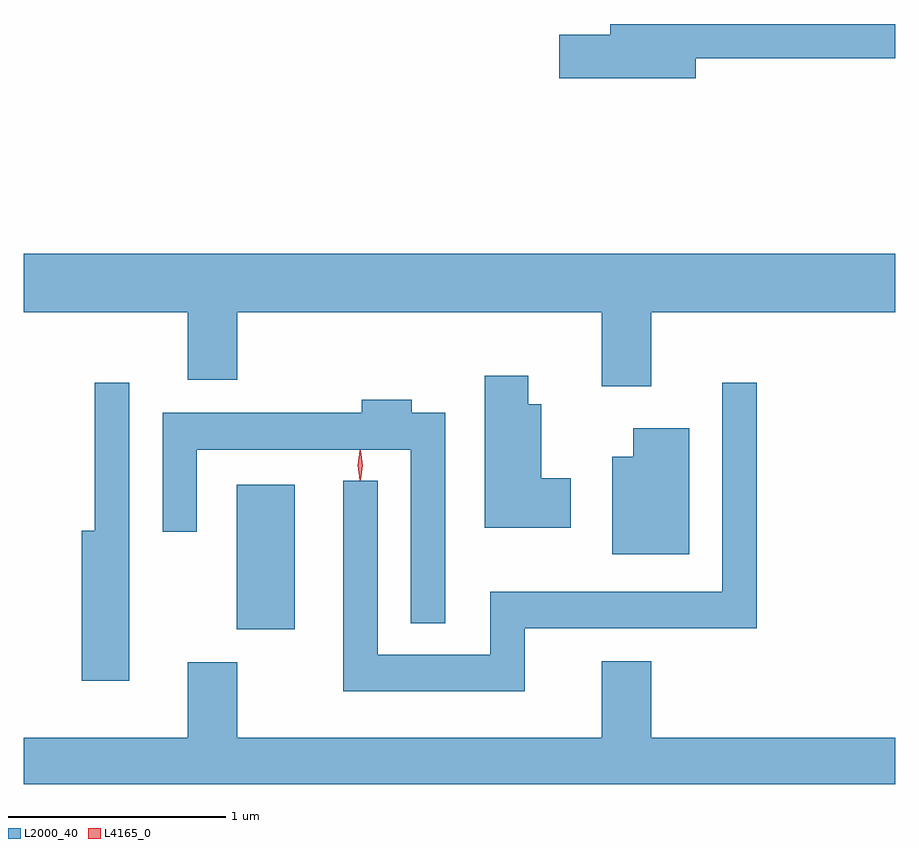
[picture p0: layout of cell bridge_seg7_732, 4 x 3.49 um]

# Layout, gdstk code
import gdstk
lib = gdstk.Library(unit=1e-6, precision=1e-09)
def R(c, l, rs):  # rectangles x0, y0, x1, y1
    for r in rs: c.add(gdstk.rectangle(r[:2], r[2:], *l))
def P(c, l, *ps):  # polygons
    for p in ps: c.add(gdstk.Polygon(p, *l))
L2000_40 = (2000, 40)
L4165_0 = (4165, 0)

bridge_seg7_732 = lib.new_cell('bridge_seg7_732')
R(bridge_seg7_732, L2000_40, [(591.556,1737.281,591.824,1737.944)])
P(bridge_seg7_732, L2000_40, [(593.664,1739.901),(594.579,1739.901),(594.579,1740.059),(593.271,1740.059),(593.271,1740.009),(593.036,1740.009),(593.036,1739.811),(593.664,1739.811)],
  [(593.459,1738.736),(594.579,1738.736),(594.579,1739.004),(590.579,1739.004),(590.579,1738.736),(591.331,1738.736),(591.331,1738.426),(591.559,1738.426),(591.559,1738.736),(593.231,1738.736),(593.231,1738.396),(593.459,1738.396)],
  [(593.089,1737.974),(592.954,1737.974),(592.954,1738.314),(592.894,1738.314),(592.894,1738.444),(592.696,1738.444),(592.696,1737.746),(593.089,1737.746)],
  [(591.064,1738.413),(590.906,1738.413),(590.906,1737.734),(590.846,1737.734),(590.846,1737.046),(591.064,1737.046)],
  [(592.879,1737.286),(593.944,1737.286),(593.944,1738.413),(593.786,1738.413),(593.786,1737.454),(592.721,1737.454),(592.721,1737.164),(592.204,1737.164),(592.204,1737.963),(592.046,1737.963),(592.046,1736.996),(592.879,1736.996)],
  [(592.514,1738.274),(592.359,1738.274),(592.359,1738.334),(592.131,1738.334),(592.131,1738.274),(591.216,1738.274),(591.216,1737.728),(591.374,1737.728),(591.374,1738.106),(592.356,1738.106),(592.356,1737.308),(592.514,1737.308)],
  [(593.634,1738.204),(593.376,1738.204),(593.376,1738.074),(593.281,1738.074),(593.281,1737.626),(593.634,1737.626)],
  [(594.579,1736.784),(593.459,1736.784),(593.459,1737.134),(593.231,1737.134),(593.231,1736.784),(591.559,1736.784),(591.559,1737.129),(591.331,1737.129),(591.331,1736.784),(590.579,1736.784),(590.579,1736.571),(594.579,1736.571)])
P(bridge_seg7_732, L4165_0, [(592.123,1737.963),(592.122,1737.964),(592.113,1738.033),(592.122,1738.102),(592.123,1738.103),(592.123,1738.102),(592.133,1738.033),(592.123,1737.964)],
  [(592.125,1737.967),(592.125,1737.967),(592.115,1738.034),(592.125,1738.1),(592.125,1738.1),(592.126,1738.1),(592.135,1738.034),(592.126,1737.967)])

lib.write_gds('bridge_seg7_732.gds')
